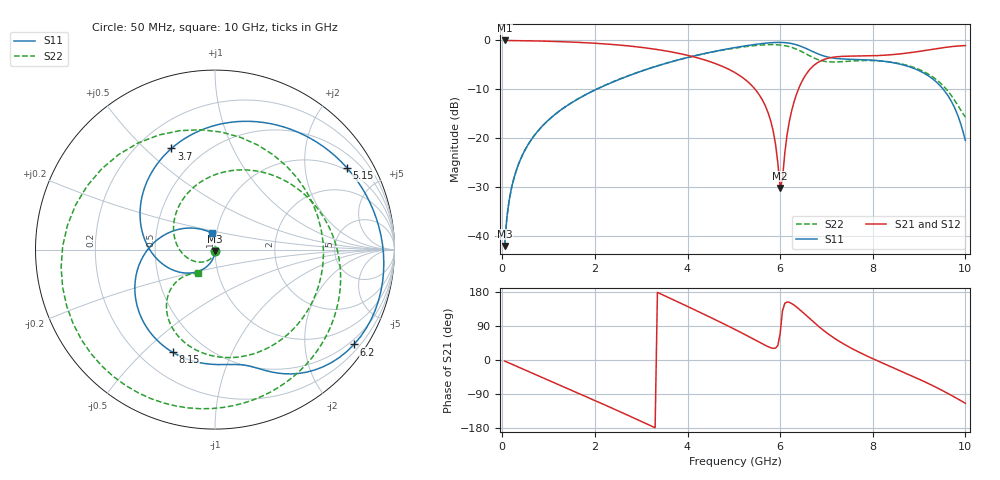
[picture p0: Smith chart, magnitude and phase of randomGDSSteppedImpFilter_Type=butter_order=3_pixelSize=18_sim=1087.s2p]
! freq	dB(S11)	phase(S11)	dB(S12)	phase(S12)
!  dB(S21)	phase(S21)	dB(S22)	phase(S22)
!S-par simulation data
#  GHz  S  DB  R 50
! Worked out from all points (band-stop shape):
!   200 points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, 50 MHz to 10 GHz, reference 50 ohm
!   highest |S21| = 0.00 dB at 50 MHz (marker M1); lowest = -30.2 dB at 6 GHz (marker M2)
!   |S21| within 3 dB of the highest: start of sweep to 3.981 GHz; 8.286 GHz to end of sweep
!   lowest |S11| = -42.1 dB at 50 MHz (marker M3), VSWR 1.02, Z = 50 - j0.787 ohm
!   |S11| at or under -10 dB: start of sweep to 2.033 GHz; 9.522 GHz to end of sweep
!   |S22| runs from -42.1 to -0.9 dB; largest |S21 - S12| = 0
!   S11 on the Smith chart (normalised r, x): 50 MHz: 1.00, -0.02; 3.7 GHz: 0.33, +0.61; 5.15 GHz: 0.91, +3.28; 6.2 GHz: 0.37, -3.20; 8.15 GHz: 0.33, -0.62; 10 GHz: 0.95, +0.18
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0.05  -42.08 -91.1  -0.00 -2.7  -0.00 -2.7  -42.10 -92.7
0.2  -30.15 -97.2  -0.02 -10.7  -0.02 -10.7  -30.18 -103.8
0.5  -22.25 -108.9  -0.06 -26.6  -0.06 -26.6  -22.27 -125.4
1.15  -15.05 -133.3  -0.21 -61.1  -0.21 -61.1  -15.05 -170.7
1.75  -11.36 -156.5  -0.45 -93.3  -0.45 -93.3  -11.34 148.0
2.65  -7.51 165.3  -1.05 -142.5  -1.05 -142.5  -7.47 87.8
3.4  -5.07 129.0  -1.94 175.6  -1.94 175.6  -5.04 40.3
3.7  -4.24 113.3  -2.44 158.5  -2.44 158.5  -4.22 22.0
4.4  -2.61 74.9  -4.08 118.1  -4.08 118.1  -2.63 -20.3
5.05  -1.42 37.6  -6.73 79.1  -6.73 79.1  -1.53 -61.6
5.15  -1.26 31.8  -7.34 72.8  -7.34 72.8  -1.40 -68.5
5.75  -0.50 -4.5  -15.07 34.6  -15.07 34.6  -0.86 -118.1
6  -0.41 -20.8  -30.18 69.7  -30.18 69.7  -0.94 -146.0
6.2  -0.56 -34.3  -16.49 152.0  -16.49 152.0  -1.28 -173.5
6.5  -1.40 -53.4  -7.86 124.5  -7.86 124.5  -2.45 135.3
6.7  -2.27 -63.2  -5.35 102.4  -5.35 102.4  -3.45 96.5
6.95  -3.20 -71.5  -3.89 76.9  -3.89 76.9  -4.26 49.5
7.25  -3.73 -79.5  -3.32 51.2  -3.32 51.2  -4.39 4.1
8.15  -4.17 -112.3  -3.08 -4.7  -3.08 -4.7  -4.20 -73.0
8.35  -4.41 -121.4  -2.96 -15.4  -2.96 -15.4  -4.38 -84.5
9.45  -9.22 174.2  -1.58 -77.2  -1.58 -77.2  -8.64 -135.3
10  -20.49 101.2  -1.05 -114.3  -1.05 -114.3  -15.68 -126.0
